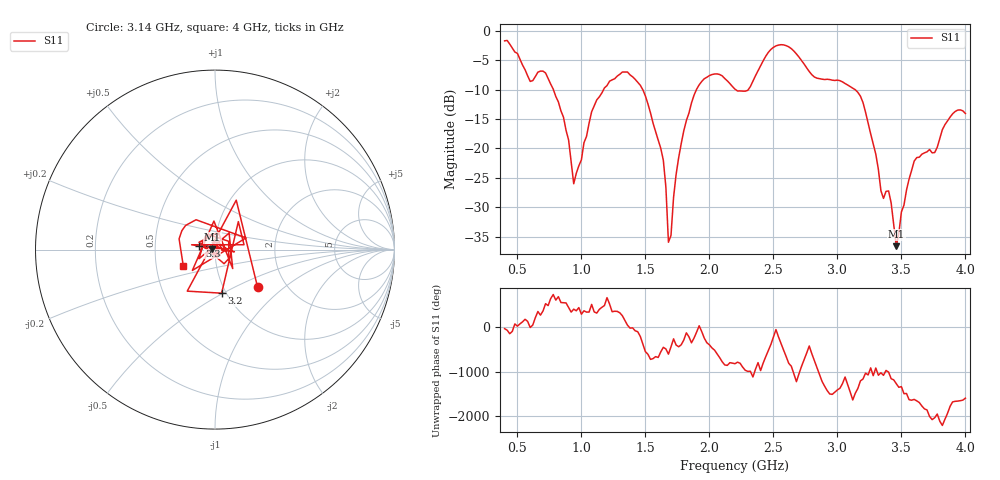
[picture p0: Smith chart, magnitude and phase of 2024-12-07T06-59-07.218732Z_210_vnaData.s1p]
!Created with skrf (http://scikit-rf.org).
# Hz S RI R 50.0
!freq ReS11 ImS11
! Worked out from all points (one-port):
!   181 points, 400 MHz to 4 GHz, reference 50 ohm
!   lowest |S11| = -36.6 dB at 3.46 GHz (marker M1), VSWR 1.03, Z = 48.6 + j0.18 ohm
!   |S11| at or under -10 dB: 781.4 MHz to 1.173 GHz (391.7 MHz wide, 40.1 % of centre); 1.48 GHz to 1.899 GHz (419 MHz wide, 24.8 % of centre); 3.139 GHz to end of sweep (the widest 3 of 4)
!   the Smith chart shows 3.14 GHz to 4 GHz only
!   S11 on the Smith chart (normalised r, x): 3.14 GHz: 1.44, -0.67; 3.2 GHz: 0.95, -0.49; 3.3 GHz: 0.84, +0.04; 4 GHz: 0.69, -0.13
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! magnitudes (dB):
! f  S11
! 400 MHz  -1.7
! 600 MHz  -8.6
! 720 MHz  -7.2
! 860 MHz  -14.7
! 940 MHz  -26.0
! 1.08 GHz  -13.8
! 1.3 GHz  -7.4
! 1.52 GHz  -12.4
! 1.64 GHz  -22.0
! 1.66 GHz  -26.6
! 1.68 GHz  -36.0
! 1.7 GHz  -34.8
! 1.76 GHz  -21.6
! 1.94 GHz  -8.6
! 2.2 GHz  -9.9
! 2.3 GHz  -10.1
! 2.5 GHz  -2.8
! 2.66 GHz  -3.4
! 3.1 GHz  -9.5
! 3.14 GHz  -10.0
! 3.2 GHz  -12.2
! 3.3 GHz  -21.0
! 3.36 GHz  -28.5
! 3.4 GHz  -27.2
! 3.46 GHz  -36.6
! 3.56 GHz  -25.2
! 3.9 GHz  -14.1
! 4 GHz  -14.1
